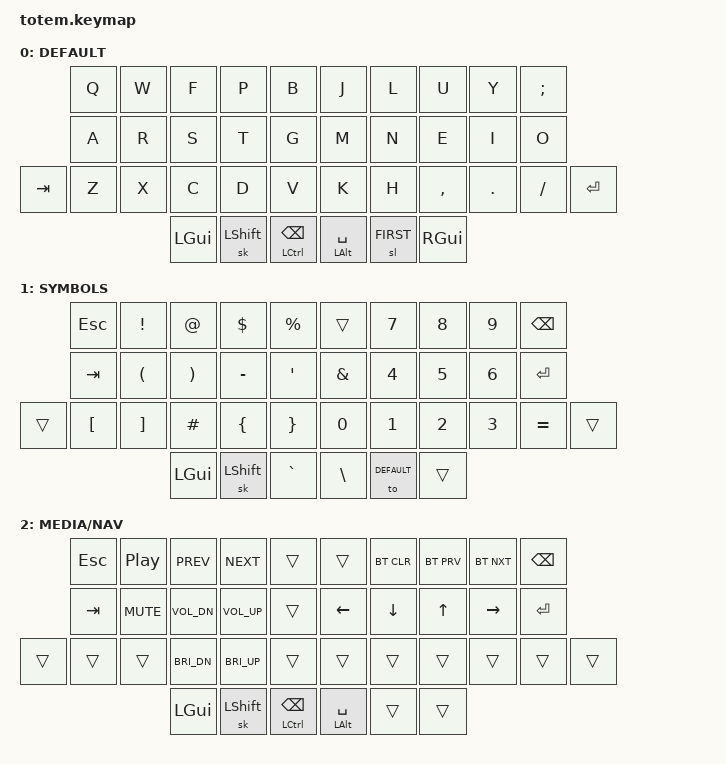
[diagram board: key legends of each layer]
//
//                                                        ▀▀▀▀▀     ▀▀▀▀▀          ▀▀█▀▀
//                                                        ▄▀▀▀▄  ▄  ▄▀▀▀▄  ▄  ▄▀▀▀▄  █  ▄▀▀▀▄
//                                                        █   █  █  █   █  █  █   █  █  █   █
//                                                         ▀▀▀   █   ▀▀▀   █   ▀▀▀   ▀   ▀▀▀
//                                                               █      ▄▄▄█▄▄▄    █   █
//                                                               ▀      █  █  █     █▄█
//                                                             ▀▀▀▀▀    █  █  █      ▀
//                                                                      ▀  ▀  ▀
//
// ▄▄▄▄▄▄▄▄▄▄▄▄▄▄▄▄▄▄▄▄▄▄▄▄▄▄▄▄▄▄▄▄▄▄▄▄▄▄▄▄▄▄▄▄▄▄▄▄▄▄▄▄▄▄▄▄▄▄▄▄▄▄▄▄▄▄▄▄▄▄▄▄▄▄▄▄▄▄▄▄▄▄▄▄▄▄▄▄▄▄▄▄▄▄▄▄▄▄▄▄▄▄▄▄▄▄▄▄▄▄▄▄▄▄▄▄▄▄▄▄▄▄▄▄▄▄▄▄▄▄▄▄▄▄▄▄▄▄▄▄▄▄▄▄▄▄▄▄▄


#include <behaviors.dtsi>
#include <dt-bindings/zmk/keys.h>
#include <dt-bindings/zmk/bt.h>
#include <dt-bindings/zmk/outputs.h>
#include <dt-bindings/zmk/ext_power.h>

#define DEFAULT 0
#define FIRST   1
#define SECOND  2

&mt {
  quick-tap-ms = <100>;
  global-quick-tap;
  flavor = "tap-preferred";
  tapping-term-ms = <200>;
};

/ {

        keymap {
                compatible = "zmk,keymap";
// ▄▄▄▄▄▄▄▄▄▄▄▄▄▄▄▄▄▄▄▄▄▄▄▄▄▄▄▄▄▄▄▄▄▄▄▄▄▄▄▄▄▄▄▄▄▄▄▄▄▄▄▄▄▄▄▄▄▄▄▄▄▄▄▄▄▄▄▄▄▄▄▄▄▄▄▄▄▄▄▄▄▄▄▄▄▄▄▄▄▄▄▄▄▄▄▄▄▄▄▄▄▄▄▄▄▄▄▄▄▄▄▄▄▄▄▄▄▄▄▄▄▄▄▄▄▄▄▄▄▄▄▄▄▄▄▄▄▄▄▄▄▄▄▄▄▄▄▄▄

                default_layer {
// ┏━━━━━━━━━━━━━━━━━━━━━━━━━━━━━━━━━━━━━━━┓
label= "DEFAULT"                           ;
// ┗━━━━━━━━━━━━━━━━━━━━━━━━━━━━━━━━━━━━━━━┛
//             ┏━━━━━━━━━━━┳━━━━━━━━━━━┳━━━━━━━━━━━┳━━━━━━━━━━━┳━━━━━━━━━━━┓   ┏━━━━━━━━━━━┳━━━━━━━━━━━┳━━━━━━━━━━━┳━━━━━━━━━━━┳━━━━━━━━━━━┓
//             ┃     Q     ┃     W     ┃     F     ┃     P     ┃     B     ┃   ┃     J     ┃     L     ┃     U     ┃     Y     ┃     ;     ┃
//             ┣━━━━━━━━━━━╋━━━━━━━━━━━╋━━━━━━━━━━━╋━━━━━━━━━━━╋━━━━━━━━━━━┫   ┣━━━━━━━━━━━╋━━━━━━━━━━━╋━━━━━━━━━━━╋━━━━━━━━━━━╋━━━━━━━━━━━┫
//             ┃     A     ┃     R     ┃     S     ┃     T     ┃     G     ┃   ┃     M     ┃     N     ┃     E     ┃     I     ┃     O     ┃
// ┏━━━━━━━━━━━╋━━━━━━━━━━━╋━━━━━━━━━━━╋━━━━━━━━━━━╋━━━━━━━━━━━╋━━━━━━━━━━━┫   ┣━━━━━━━━━━━╋━━━━━━━━━━━╋━━━━━━━━━━━╋━━━━━━━━━━━╋━━━━━━━━━━━╋━━━━━━━━━━━┓
// ┃    TAB    ┃     Z     ┃     X     ┃     C     ┃     D     ┃     V     ┃   ┃     K     ┃     H     ┃     ,     ┃     .     ┃     /     ┃   ENTER   ┃
// ┗━━━━━━━━━━━┻━━━━━━━━━━━┻━━━━━━━━━━━╋━━━━━━━━━━━╋━━━━━━━━━━━╋━━━━━━━━━━━┫   ┣━━━━━━━━━━━╋━━━━━━━━━━━╋━━━━━━━━━━━╋━━━━━━━━━━━┻━━━━━━━━━━━┻━━━━━━━━━━━┛
//                                     ┃    GUI    ┃   SHIFT   ┃ CTRL/BSPC ┃   ┃ ALT/SPC   ┃  LAYER 1  ┃    GUI    ┃
//                                     ┗━━━━━━━━━━━┻━━━━━━━━━━━┻━━━━━━━━━━━┛   ┗━━━━━━━━━━━┻━━━━━━━━━━━┻━━━━━━━━━━━┛
 bindings = <
// ╷           ╷           ╷           ╷           ╷           ╷           ╷   ╷           ╷           ╷           ╷           ╷           ╷           ╷

                &kp Q       &kp W       &kp F       &kp P       &kp B           &kp J       &kp L       &kp U       &kp Y       &kp SEMI
                &kp A       &kp R       &kp S       &kp T       &kp G           &kp M       &kp N       &kp E       &kp I       &kp O
    &kp TAB     &kp Z       &kp X       &kp C       &kp D       &kp V           &kp K       &kp H       &kp COMMA   &kp DOT     &kp FSLH    &kp RET
                                        &kp LGUI    &sk LSHIFT  &mt LCTRL BSPC  &mt LALT SPACE &sl FIRST &kp RGUI
                        >;
                };

// ▄▄▄▄▄▄▄▄▄▄▄▄▄▄▄▄▄▄▄▄▄▄▄▄▄▄▄▄▄▄▄▄▄▄▄▄▄▄▄▄▄▄▄▄▄▄▄▄▄▄▄▄▄▄▄▄▄▄▄▄▄▄▄▄▄▄▄▄▄▄▄▄▄▄▄▄▄▄▄▄▄▄▄▄▄▄▄▄▄▄▄▄▄▄▄▄▄▄▄▄▄▄▄▄▄▄▄▄▄▄▄▄▄▄▄▄▄▄▄▄▄▄▄▄▄▄▄▄▄▄▄▄▄▄▄▄▄▄▄▄▄▄▄▄▄▄▄▄▄

                first_layer {
// ┏━━━━━━━━━━━━━━━━━━━━━━━━━━━━━━━━━━━━━━━┓
label= "SYMBOLS"                           ;
// ┗━━━━━━━━━━━━━━━━━━━━━━━━━━━━━━━━━━━━━━━┛
//             ┏━━━━━━━━━━━┳━━━━━━━━━━━┳━━━━━━━━━━━┳━━━━━━━━━━━┳━━━━━━━━━━━┓   ┏━━━━━━━━━━━┳━━━━━━━━━━━┳━━━━━━━━━━━┳━━━━━━━━━━━┳━━━━━━━━━━━┓
//             ┃    ESC    ┃     !     ┃     @     ┃     $     ┃     %     ┃   ┃           ┃     7     ┃     8     ┃     9     ┃   BSPC    ┃
//             ┣━━━━━━━━━━━╋━━━━━━━━━━━╋━━━━━━━━━━━╋━━━━━━━━━━━╋━━━━━━━━━━━┫   ┣━━━━━━━━━━━╋━━━━━━━━━━━╋━━━━━━━━━━━╋━━━━━━━━━━━╋━━━━━━━━━━━┫
//             ┃    TAB    ┃     (     ┃     )     ┃     -     ┃     '     ┃   ┃     &     ┃     4     ┃     5     ┃     6     ┃   ENTER   ┃
// ┏━━━━━━━━━━━╋━━━━━━━━━━━╋━━━━━━━━━━━╋━━━━━━━━━━━╋━━━━━━━━━━━╋━━━━━━━━━━━┫   ┣━━━━━━━━━━━╋━━━━━━━━━━━╋━━━━━━━━━━━╋━━━━━━━━━━━╋━━━━━━━━━━━╋━━━━━━━━━━━┓
// ┃           ┃     [     ┃     ]     ┃     #     ┃     {     ┃     }     ┃   ┃     0     ┃     1     ┃     2     ┃     3     ┃     =     ┃           ┃
// ┗━━━━━━━━━━━┻━━━━━━━━━━━┻━━━━━━━━━━━╋━━━━━━━━━━━╋━━━━━━━━━━━╋━━━━━━━━━━━┫   ┣━━━━━━━━━━━╋━━━━━━━━━━━╋━━━━━━━━━━━╋━━━━━━━━━━━┻━━━━━━━━━━━┻━━━━━━━━━━━┛
//                                     ┃    GUI    ┃   SHIFT   ┃   GRAVE   ┃   ┃    \      ┃   TO DEF  ┃           ┃
//                                     ┗━━━━━━━━━━━┻━━━━━━━━━━━┻━━━━━━━━━━━┛   ┗━━━━━━━━━━━┻━━━━━━━━━━━┻━━━━━━━━━━━┛
 bindings = <
// ╷           ╷           ╷           ╷           ╷           ╷           ╷   ╷           ╷           ╷           ╷           ╷           ╷           ╷

                &kp ESC     &kp EXCL    &kp AT      &kp DLLR    &kp PRCNT       &trans      &kp N7      &kp N8      &kp N9      &kp BSPC
                &kp TAB     &kp LPAR    &kp RPAR    &kp MINUS   &kp SQT         &kp AMPS    &kp N4      &kp N5      &kp N6      &kp RET
    &trans      &kp LBKT    &kp RBKT    &kp HASH    &kp LBRC    &kp RBRC        &kp N0      &kp N1      &kp N2      &kp N3      &kp EQUAL   &trans
                                        &kp LGUI    &sk LSHIFT  &kp GRAVE       &kp BSLH    &to DEFAULT &trans
                        >;
                };

// ▄▄▄▄▄▄▄▄▄▄▄▄▄▄▄▄▄▄▄▄▄▄▄▄▄▄▄▄▄▄▄▄▄▄▄▄▄▄▄▄▄▄▄▄▄▄▄▄▄▄▄▄▄▄▄▄▄▄▄▄▄▄▄▄▄▄▄▄▄▄▄▄▄▄▄▄▄▄▄▄▄▄▄▄▄▄▄▄▄▄▄▄▄▄▄▄▄▄▄▄▄▄▄▄▄▄▄▄▄▄▄▄▄▄▄▄▄▄▄▄▄▄▄▄▄▄▄▄▄▄▄▄▄▄▄▄▄▄▄▄▄▄▄▄▄▄▄▄▄

                second_layer {
// ┏━━━━━━━━━━━━━━━━━━━━━━━━━━━━━━━━━━━━━━━┓
label= "MEDIA/NAV"                         ;
// ┗━━━━━━━━━━━━━━━━━━━━━━━━━━━━━━━━━━━━━━━┛
//             ┏━━━━━━━━━━━┳━━━━━━━━━━━┳━━━━━━━━━━━┳━━━━━━━━━━━┳━━━━━━━━━━━┓   ┏━━━━━━━━━━━┳━━━━━━━━━━━┳━━━━━━━━━━━┳━━━━━━━━━━━┳━━━━━━━━━━━┓
//             ┃    ESC    ┃  PLAY/P   ┃   PREV    ┃   NEXT    ┃           ┃   ┃           ┃  BT CLEAR ┃  BT PREV  ┃  BT NEXT  ┃   BSPC    ┃
//             ┣━━━━━━━━━━━╋━━━━━━━━━━━╋━━━━━━━━━━━╋━━━━━━━━━━━╋━━━━━━━━━━━┫   ┣━━━━━━━━━━━╋━━━━━━━━━━━╋━━━━━━━━━━━╋━━━━━━━━━━━╋━━━━━━━━━━━┫
//             ┃    TAB    ┃   MUTE    ┃  VOL DN   ┃  VOL UP   ┃           ┃   ┃   LEFT    ┃    DOWN   ┃     UP    ┃   RIGHT   ┃   ENTER   ┃
// ┏━━━━━━━━━━━╋━━━━━━━━━━━╋━━━━━━━━━━━╋━━━━━━━━━━━╋━━━━━━━━━━━╋━━━━━━━━━━━┫   ┣━━━━━━━━━━━╋━━━━━━━━━━━╋━━━━━━━━━━━╋━━━━━━━━━━━╋━━━━━━━━━━━╋━━━━━━━━━━━┓
// ┃           ┃           ┃           ┃  BRI DN   ┃  BRI UP   ┃           ┃   ┃           ┃           ┃           ┃           ┃           ┃           ┃
// ┗━━━━━━━━━━━┻━━━━━━━━━━━┻━━━━━━━━━━━╋━━━━━━━━━━━╋━━━━━━━━━━━╋━━━━━━━━━━━┫   ┣━━━━━━━━━━━╋━━━━━━━━━━━╋━━━━━━━━━━━╋━━━━━━━━━━━┻━━━━━━━━━━━┻━━━━━━━━━━━┛
//                                     ┃    GUI    ┃   SHIFT   ┃ CTRL/BSPC ┃   ┃ ALT/SPC   ┃           ┃           ┃
//                                     ┗━━━━━━━━━━━┻━━━━━━━━━━━┻━━━━━━━━━━━┛   ┗━━━━━━━━━━━┻━━━━━━━━━━━┻━━━━━━━━━━━┛
 bindings = <
// ╷           ╷           ╷           ╷           ╷           ╷           ╷   ╷           ╷           ╷           ╷           ╷           ╷           ╷

                &kp ESC     &kp C_PP    &kp C_PREV  &kp C_NEXT  &trans          &trans      &bt BT_CLR  &bt BT_PRV  &bt BT_NXT  &kp BSPC
                &kp TAB     &kp K_MUTE  &kp C_VOL_DN &kp C_VOL_UP &trans         &kp LEFT    &kp DOWN    &kp UP      &kp RIGHT   &kp RET
    &trans      &trans      &trans      &kp C_BRI_DN &kp C_BRI_UP &trans         &trans      &trans      &trans      &trans      &trans      &trans
                                        &kp LGUI    &sk LSHIFT  &mt LCTRL BSPC  &mt LALT SPACE &trans   &trans
                        >;
                };
        };
};
